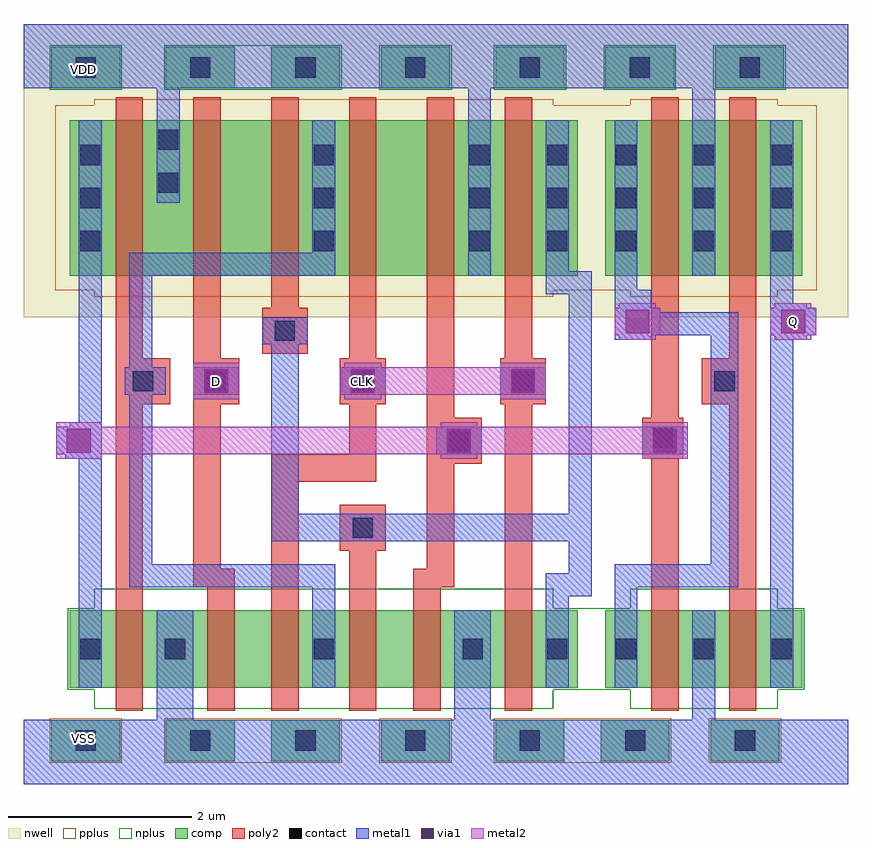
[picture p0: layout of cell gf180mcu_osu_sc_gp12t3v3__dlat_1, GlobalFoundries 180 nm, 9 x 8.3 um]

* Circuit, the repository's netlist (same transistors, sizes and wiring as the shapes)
* Copyright 2022 Google LLC
*
* Licensed under the Apache License, Version 2.0 (the "License");
* you may not use this file except in compliance with the License.
* You may obtain a copy of the License at
*
*      http://www.apache.org/licenses/LICENSE-2.0
*
* Unless required by applicable law or agreed to in writing, software
* distributed under the License is distributed on an "AS IS" BASIS,
* WITHOUT WARRANTIES OR CONDITIONS OF ANY KIND, either express or implied.
* See the License for the specific language governing permissions and
* limitations under the License.

.option scale=0.05u

.subckt gf180mcu_osu_sc_gp12t3v3__dlat_1 D CLK Q
X0 a_52_92 CLK VDD VDD pmos_3p3 w=34 l=6
X1 a_46_19 D VSS VSS nmos_3p3 w=17 l=6
X2 a_20_14 CLK a_46_19 VSS nmos_3p3 w=17 l=6
X3 VSS a_10_19 a_127_19 VSS nmos_3p3 w=17 l=6
X4 VDD a_10_19 a_77_109 VDD pmos_3p3 w=34 l=6
X5 a_77_109 CLK a_20_14 VDD pmos_3p3 w=34 l=6
X6 a_20_14 a_52_92 a_43_109 VDD pmos_3p3 w=34 l=6
X7 VDD a_20_14 a_10_19 VDD pmos_3p3 w=34 l=6
X8 a_43_109 D VDD VDD pmos_3p3 w=34 l=6
X9 Q a_127_19 VDD VDD pmos_3p3 w=34 l=6
X10 VDD a_10_19 a_127_19 VDD pmos_3p3 w=34 l=6
X11 a_77_19 a_52_92 a_20_14 VSS nmos_3p3 w=17 l=6
X12 Q a_127_19 VSS VSS nmos_3p3 w=17 l=6
X13 VSS a_10_19 a_77_19 VSS nmos_3p3 w=17 l=6
X14 a_52_92 CLK VSS VSS nmos_3p3 w=17 l=6
X15 VSS a_20_14 a_10_19 VSS nmos_3p3 w=17 l=6
.ends

** hspice subcircuit dictionary

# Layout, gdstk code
import gdstk
lib = gdstk.Library(unit=1e-6, precision=1e-09)
def R(c, l, rs):  # rectangles x0, y0, x1, y1
    for r in rs: c.add(gdstk.rectangle(r[:2], r[2:], *l))
def A(c, l, x, y, w, h, nx, ny, dx, dy):  # array of equal rectangles
    R(c, l, [(x+i*dx, y+j*dy, x+i*dx+w, y+j*dy+h) for i in range(nx) for j in range(ny)])
nwell = (21, 0)
comp = (22, 0)
poly2 = (30, 0)
pplus = (31, 0)
nplus = (32, 0)
contact = (33, 0)
metal1 = (34, 0)
via1 = (35, 0)
metal2 = (36, 0)

gf180mcu_osu_sc_gp12t3v3 = lib.new_cell('gf180mcu_osu_sc_gp12t3v3__dlat_1')
R(gf180mcu_osu_sc_gp12t3v3, nwell, [(0,5.1,9,8.3)])
A(gf180mcu_osu_sc_gp12t3v3, comp, 5.15, 7.6, 0.75, 0.45, 3, 1, 1.2, 0)
R(gf180mcu_osu_sc_gp12t3v3, comp, [(0.3,0.25,1.05,0.7), (1.55,0.25,2.3,0.7), (2.7,0.25,3.45,0.7), (3.9,0.25,4.65,0.7), (5.15,0.25,5.9,0.7), (6.3,0.25,7.05,0.7), (7.5,0.25,8.25,0.7), (0.5,1.05,6.05,1.9), (6.35,1.05,8.5,1.9), (0.5,5.55,6.05,7.25), (6.35,5.55,8.5,7.25), (0.3,7.6,1.05,8.05), (1.55,7.6,2.3,8.05), (2.7,7.6,3.45,8.05), (3.9,7.6,4.65,8.05)])
A(gf180mcu_osu_sc_gp12t3v3, poly2, 1.85, 4.65, 0.3, 2.85, 3, 1, 1.7, 0)
R(gf180mcu_osu_sc_gp12t3v3, poly2, [(1,0.8,1.3,4.15), (2,0.8,2.3,2.15), (2.7,0.8,3,3.3), (3.55,0.8,3.85,2.55), (4.25,0.8,4.55,2.15), (5.25,0.8,5.55,4.15), (6.85,0.8,7.15,3.55), (7.7,0.8,8,4.15), (1.85,2.15,2.3,2.35), (4.25,2.15,4.7,2.35), (1.85,2.35,2.15,4.15), (4.4,2.35,4.7,3.5), (3.45,2.55,3.95,3.05), (2.7,3.3,3.85,3.6), (4.4,3.5,5,4), (6.75,3.55,7.2,4), (3.55,3.6,3.85,4.15), (4.4,4,4.7,7.5), (6.85,4,7.15,7.5), (1,4.15,1.6,4.65), (1.85,4.15,2.35,4.65), (3.45,4.15,3.95,4.65), (5.2,4.15,5.7,4.65), (7.4,4.15,8,4.65), (1,4.65,1.3,7.5), (7.7,4.65,8,7.5), (2.6,4.7,3.1,5.2), (2.7,5.2,3,7.5)])
A(gf180mcu_osu_sc_gp12t3v3, pplus, 0.28, 0.23, 0.79, 0.49, 3, 1, 3.6, 0)
R(gf180mcu_osu_sc_gp12t3v3, pplus, [(1.53,0.23,3.47,0.72), (5.13,0.23,7.07,0.72), (0.77,5.32,5.78,5.39), (6.62,5.32,8.23,5.39), (0.34,5.39,8.66,7.41), (0.77,7.41,5.78,7.48), (6.62,7.41,8.23,7.48)])
A(gf180mcu_osu_sc_gp12t3v3, nplus, 5.13, 7.58, 0.79, 0.49, 3, 1, 1.2, 0)
R(gf180mcu_osu_sc_gp12t3v3, nplus, [(0.77,0.82,5.78,1.03), (6.62,0.82,8.23,1.03), (0.48,1.03,8.52,1.92), (0.77,1.92,5.78,2.13), (6.62,1.92,8.23,2.13), (0.28,7.58,1.07,8.07), (1.53,7.58,3.47,8.07), (3.88,7.58,4.67,8.07)])
A(gf180mcu_osu_sc_gp12t3v3, contact, 1.54, 1.365, 0.22, 0.22, 3, 1, 1.625, 0)
A(gf180mcu_osu_sc_gp12t3v3, contact, 6.465, 1.365, 0.22, 0.22, 3, 2, 0.85, 4.455)
A(gf180mcu_osu_sc_gp12t3v3, contact, 0.615, 5.82, 0.22, 0.22, 1, 3, 0, 0.47)
A(gf180mcu_osu_sc_gp12t3v3, contact, 3.165, 5.82, 0.22, 0.22, 1, 3, 0, 0.47)
A(gf180mcu_osu_sc_gp12t3v3, contact, 4.865, 5.82, 0.22, 0.22, 1, 3, 0, 0.47)
A(gf180mcu_osu_sc_gp12t3v3, contact, 5.715, 5.82, 0.22, 0.22, 1, 3, 0, 0.47)
A(gf180mcu_osu_sc_gp12t3v3, contact, 6.465, 6.29, 0.22, 0.22, 3, 2, 0.85, 0.47)
A(gf180mcu_osu_sc_gp12t3v3, contact, 5.415, 7.715, 0.22, 0.22, 3, 1, 1.2, 0)
R(gf180mcu_osu_sc_gp12t3v3, contact, [(0.565,0.365,0.785,0.585), (1.815,0.365,2.035,0.585), (2.965,0.365,3.185,0.585), (4.165,0.365,4.385,0.585), (5.415,0.365,5.635,0.585), (6.565,0.365,6.785,0.585), (7.765,0.365,7.985,0.585), (0.615,1.365,0.835,1.585), (5.715,1.365,5.935,1.585), (3.59,2.69,3.81,2.91), (4.64,3.64,4.86,3.86), (6.865,3.665,7.085,3.885), (1.19,4.29,1.41,4.51), (1.99,4.29,2.21,4.51), (3.59,4.29,3.81,4.51), (5.34,4.29,5.56,4.51), (7.54,4.29,7.76,4.51), (2.74,4.84,2.96,5.06), (1.465,6.455,1.685,6.675), (1.465,6.925,1.685,7.145), (0.565,7.715,0.785,7.935), (1.815,7.715,2.035,7.935), (2.965,7.715,3.185,7.935), (4.165,7.715,4.385,7.935)])
R(gf180mcu_osu_sc_gp12t3v3, metal1, [(0,0,9,0.7), (1.45,0.7,1.85,1.9), (4.7,0.7,5.1,1.9), (7.3,0.7,7.55,1.9), (0.6,1.05,0.85,3.55), (3.15,1.05,3.4,2.15), (5.7,1.05,5.95,2.05), (6.45,1.05,6.7,2.15), (8.15,1.05,8.4,4.85), (5.7,2.05,6.2,2.3), (1.15,2.15,3.4,2.4), (6.45,2.15,7.8,2.4), (5.95,2.3,6.2,2.65), (1.15,2.4,1.4,4.25), (7.5,2.4,7.8,4.9), (2.7,2.65,6.2,2.95), (2.7,2.95,3,4.8), (5.95,2.95,6.2,5.35), (0.45,3.55,0.85,3.6), (0.35,3.6,0.85,3.9), (4.5,3.6,5,3.9), (6.75,3.6,7.25,3.9), (0.5,3.9,0.85,3.95), (0.6,3.95,0.85,7.25), (1.1,4.25,1.55,4.55), (1.85,4.25,2.35,4.55), (3.45,4.25,3.95,4.55), (5.2,4.25,5.7,4.55), (1.15,4.55,1.4,5.55), (2.6,4.8,3.1,5.1), (6.45,4.85,6.85,4.9), (8.15,4.85,8.55,4.9), (6.45,4.9,7.8,5.15), (8.15,4.9,8.65,5.2), (6.45,5.15,6.95,5.2), (6.45,5.2,6.85,5.4), (8.15,5.2,8.55,5.25), (8.15,5.25,8.4,7.25), (5.7,5.35,6.2,5.6), (6.45,5.4,6.7,7.25), (1.15,5.55,3.4,5.8), (4.85,5.55,5.1,7.6), (7.3,5.55,7.55,7.6), (5.7,5.6,5.95,7.25), (3.15,5.8,3.4,7.25), (1.45,6.35,1.7,7.6), (0,7.6,9,8.3)])
R(gf180mcu_osu_sc_gp12t3v3, via1, [(0.47,3.62,0.73,3.88), (4.62,3.62,4.88,3.88), (6.87,3.62,7.13,3.88), (1.97,4.27,2.23,4.53), (3.57,4.27,3.83,4.53), (5.32,4.27,5.58,4.53), (6.57,4.92,6.83,5.18), (8.27,4.92,8.53,5.18)])
R(gf180mcu_osu_sc_gp12t3v3, metal2, [(0.35,3.55,0.85,3.6), (4.55,3.55,4.95,3.6), (6.75,3.55,7.25,3.6), (0.35,3.6,7.25,3.9), (0.35,3.9,0.85,3.95), (4.55,3.9,4.95,3.95), (6.75,3.9,7.25,3.95), (1.85,4.2,2.35,4.6), (3.5,4.2,3.9,4.25), (5.2,4.2,5.7,4.25), (3.45,4.25,5.7,4.55), (3.5,4.55,3.9,4.6), (5.2,4.55,5.7,4.6), (6.5,4.85,6.9,4.9), (8.2,4.85,8.6,4.9), (6.45,4.9,6.95,5.2), (8.15,4.9,8.65,5.2), (6.5,5.2,6.9,5.25), (8.2,5.2,8.6,5.25)])
gf180mcu_osu_sc_gp12t3v3.add(gdstk.Label('D', (2.1,4.4), layer=36, texttype=10))
gf180mcu_osu_sc_gp12t3v3.add(gdstk.Label('Q', (8.4,5.05), layer=36, texttype=10))
gf180mcu_osu_sc_gp12t3v3.add(gdstk.Label('CLK', (3.7,4.4), layer=34, texttype=10))
gf180mcu_osu_sc_gp12t3v3.add(gdstk.Label('VDD', (0.65,7.8), layer=34, texttype=10))
gf180mcu_osu_sc_gp12t3v3.add(gdstk.Label('VSS', (0.65,0.5), layer=34, texttype=10))

lib.write_gds('gf180mcu_osu_sc_gp12t3v3__dlat_1.gds')
